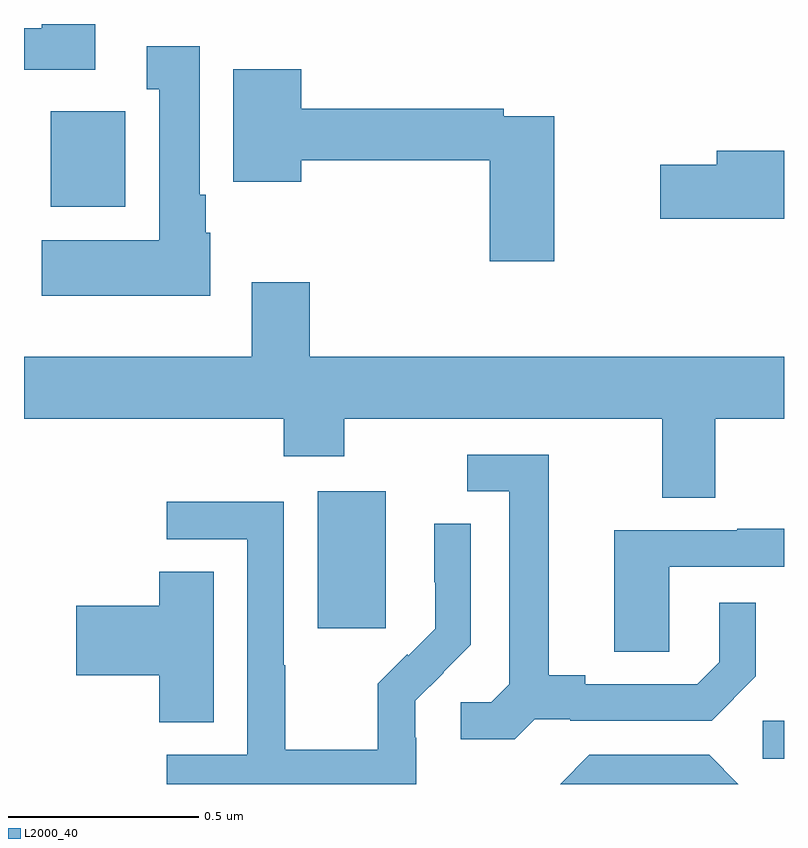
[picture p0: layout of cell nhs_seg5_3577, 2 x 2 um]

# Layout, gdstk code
import gdstk
lib = gdstk.Library(unit=1e-6, precision=1e-09)
def R(c, l, rs):  # rectangles x0, y0, x1, y1
    for r in rs: c.add(gdstk.rectangle(r[:2], r[2:], *l))
def P(c, l, *ps):  # polygons
    for p in ps: c.add(gdstk.Polygon(p, *l))
L2000_40 = (2000, 40)

nhs_seg5_3577 = lib.new_cell('nhs_seg5_3577')
R(nhs_seg5_3577, L2000_40, [(160.944,855.865,161,855.966), (159.773,856.209,159.952,856.57), (159.071,857.318,159.267,857.569)])
P(nhs_seg5_3577, L2000_40, [(159.187,857.799),(159.047,857.799),(159.047,857.788),(159,857.788),(159,857.678),(159.187,857.678)],
  [(159.49,857.25),(159.478,857.25),(159.478,857.35),(159.463,857.35),(159.463,857.74),(159.323,857.74),(159.323,857.627),(159.356,857.627),(159.356,857.23),(159.047,857.23),(159.047,857.084),(159.49,857.084)],
  [(160.396,857.556),(160.262,857.556),(160.262,857.576),(159.73,857.576),(159.73,857.68),(159.551,857.68),(159.551,857.384),(159.73,857.384),(159.73,857.44),(160.226,857.44),(160.226,857.175),(160.396,857.175)],
  [(161,857.465),(160.823,857.465),(160.823,857.429),(160.674,857.429),(160.674,857.287),(161,857.287)],
  [(160.819,856.76),(161,856.76),(161,856.924),(159.752,856.924),(159.752,857.119),(159.599,857.119),(159.599,856.924),(159,856.924),(159,856.76),(159.683,856.76),(159.683,856.661),(159.843,856.661),(159.843,856.76),(160.679,856.76),(160.679,856.552),(160.819,856.552)],
  [(160.344,855.969),(160.438,855.969),(160.438,855.966),(160.81,855.966),(160.926,856.082),(160.926,856.276),(160.829,856.276),(160.829,856.119),(160.772,856.062),(160.477,856.062),(160.477,856.085),(160.381,856.085),(160.381,856.665),(160.167,856.665),(160.167,856.569),(160.277,856.569),(160.277,856.061),(160.23,856.014),(160.149,856.014),(160.149,855.917),(160.292,855.917)],
  [(160.032,855.921),(160.03,855.921),(160.03,856.018),(160.104,856.092),(160.103,856.093),(160.176,856.166),(160.176,856.484),(160.08,856.484),(160.08,856.33),(160.082,856.33),(160.082,856.208),(160.011,856.137),(160.008,856.14),(159.931,856.063),(159.931,855.889),(159.687,855.889),(159.687,856.112),(159.684,856.112),(159.684,856.542),(159.375,856.542),(159.375,856.443),(159.588,856.443),(159.588,855.876),(159.375,855.876),(159.375,855.799),(160.032,855.799)],
  [(160.698,856.371),(161,856.371),(161,856.471),(160.877,856.471),(160.877,856.467),(160.553,856.467),(160.553,856.147),(160.698,856.147)],
  [(159.499,856.358),(159.356,856.358),(159.356,856.268),(159.138,856.268),(159.138,856.085),(159.356,856.085),(159.356,855.961),(159.499,855.961)],
  [(160.803,855.876),(160.488,855.876),(160.411,855.799),(160.88,855.799)])

lib.write_gds('nhs_seg5_3577.gds')
